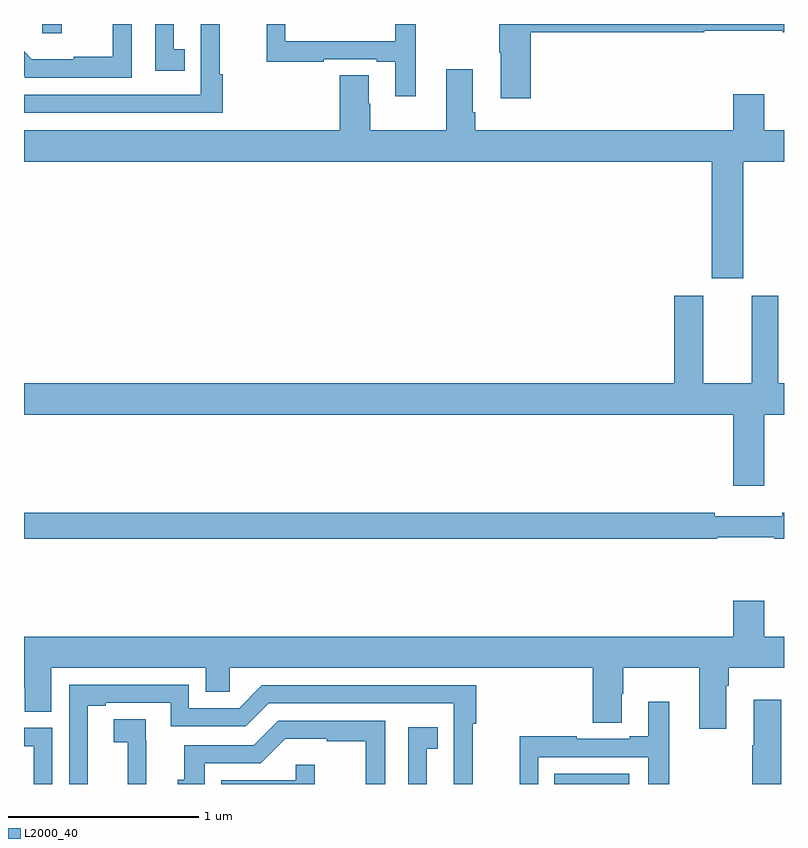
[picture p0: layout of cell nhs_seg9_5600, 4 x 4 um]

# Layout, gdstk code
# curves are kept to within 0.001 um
import gdstk
lib = gdstk.Library(unit=1e-6, precision=1e-09)
def R(c, l, rs):  # rectangles x0, y0, x1, y1
    for r in rs: c.add(gdstk.rectangle(r[:2], r[2:], *l))
def P(c, l, *ps):  # polygons
    for p in ps: c.add(gdstk.Polygon(p, *l))
L2000_40 = (2000, 40)

nhs_seg9_5600 = lib.new_cell('nhs_seg9_5600')
R(nhs_seg9_5600, L2000_40, [(439.792,1170.5,440.185,1170.553), (437.097,1174.452,437.198,1174.5), (438.46,1174.499,438.853,1174.5)])
P(nhs_seg9_5600, L2000_40, [(439.667,1174.456),(440.579,1174.456),(440.579,1174.464),(440.994,1174.464),(440.994,1174.456),(441,1174.456),(441,1174.5),(439.501,1174.5),(439.501,1174.348),(439.508,1174.348),(439.508,1174.11),(439.667,1174.11)],
  [(439.063,1174.5),(438.954,1174.5),(438.954,1174.41),(438.375,1174.41),(438.375,1174.5),(438.277,1174.5),(438.277,1174.302),(438.578,1174.302),(438.578,1174.314),(438.857,1174.314),(438.857,1174.302),(438.953,1174.302),(438.953,1174.119),(439.063,1174.119)],
  [(437.568,1174.5),(437.467,1174.5),(437.467,1174.327),(437.261,1174.327),(437.261,1174.315),(437.042,1174.315),(437,1174.357),(437,1174.225),(437.007,1174.218),(437.568,1174.218)],
  [(437.846,1174.367),(437.788,1174.367),(437.788,1174.5),(437.691,1174.5),(437.691,1174.254),(437.846,1174.254)],
  [(438.047,1174.235),(438.03,1174.235),(438.03,1174.5),(437.93,1174.5),(437.93,1174.456),(437.931,1174.456),(437.931,1174.128),(437,1174.128),(437,1174.032),(438.047,1174.032)],
  [(440.785,1173.776),(441,1173.776),(441,1173.94),(440.896,1173.94),(440.896,1174.129),(440.732,1174.129),(440.732,1173.94),(439.376,1173.94),(439.376,1174.036),(439.363,1174.036),(439.363,1174.261),(439.223,1174.261),(439.223,1173.94),(438.822,1173.94),(438.822,1174.079),(438.814,1174.079),(438.814,1174.229),(438.662,1174.229),(438.662,1173.94),(437,1173.94),(437,1173.776),(440.621,1173.776),(440.621,1173.162),(440.785,1173.162)],
  [(440.896,1172.444),(441,1172.444),(441,1172.608),(440.971,1172.608),(440.971,1173.07),(440.831,1173.07),(440.831,1172.608),(440.575,1172.608),(440.575,1173.07),(440.423,1173.07),(440.423,1172.608),(437,1172.608),(437,1172.444),(440.732,1172.444),(440.732,1172.07),(440.896,1172.07)],
  [(440.648,1171.8),(440.948,1171.8),(440.948,1171.792),(441,1171.792),(441,1171.928),(440.992,1171.928),(440.992,1171.909),(440.636,1171.909),(440.636,1171.928),(437,1171.928),(437,1171.792),(440.648,1171.792)],
  [(440.695,1171.016),(440.708,1171.016),(440.708,1171.112),(441,1171.112),(441,1171.276),(440.896,1171.276),(440.896,1171.465),(440.732,1171.465),(440.732,1171.276),(437,1171.276),(437,1171.003),(437.004,1171.003),(437.004,1170.88),(437.143,1170.88),(437.143,1171.112),(437.957,1171.112),(437.957,1170.985),(438.084,1170.985),(438.084,1171.112),(439.994,1171.112),(439.994,1170.823),(440.146,1170.823),(440.146,1170.974),(440.154,1170.974),(440.154,1171.112),(440.555,1171.112),(440.555,1170.792),(440.695,1170.792)],
  [(437.335,1170.912),(437.431,1170.912),(437.431,1170.927),(437.772,1170.927),(437.772,1170.804),(438.168,1170.804),(438.288,1170.924),(439.263,1170.924),(439.262,1170.5),(439.362,1170.5),(439.362,1170.817),(439.379,1170.817),(439.379,1171.02),(438.252,1171.02),(438.132,1170.9),(437.868,1170.9),(437.868,1171.023),(437.238,1171.023),(437.238,1170.5),(437.335,1170.5)],
  [(440.986,1170.943),(440.84,1170.943),(440.84,1170.704),(440.833,1170.704),(440.833,1170.5),(440.986,1170.5)],
  [(439.707,1170.642),(440.286,1170.642),(440.286,1170.5),(440.395,1170.5),(440.395,1170.934),(440.285,1170.934),(440.285,1170.751),(440.189,1170.751),(440.189,1170.738),(439.91,1170.738),(439.91,1170.751),(439.609,1170.751),(439.609,1170.5),(439.707,1170.5)],
  [(437.644,1170.731),(437.642,1170.731),(437.642,1170.842),(437.472,1170.842),(437.472,1170.721),(437.546,1170.721),(437.546,1170.523),(437.547,1170.523),(437.547,1170.5),(437.644,1170.5)],
  [(437.95,1170.609),(438.246,1170.609),(438.374,1170.737),(438.593,1170.737),(438.593,1170.726),(438.799,1170.726),(438.799,1170.5),(438.9,1170.5),(438.9,1170.834),(438.339,1170.834),(438.21,1170.705),(437.843,1170.705),(437.843,1170.522),(437.81,1170.522),(437.81,1170.5),(437.95,1170.5)],
  [(439.12,1170.686),(439.178,1170.686),(439.178,1170.799),(439.023,1170.799),(439.023,1170.5),(439.12,1170.5)],
  [(437.148,1170.795),(437,1170.795),(437,1170.699),(437.052,1170.699),(437.052,1170.5),(437.148,1170.5)],
  [(438.53,1170.601),(438.429,1170.601),(438.429,1170.519),(438.039,1170.519),(438.039,1170.5),(438.53,1170.5)])

lib.write_gds('nhs_seg9_5600.gds')
